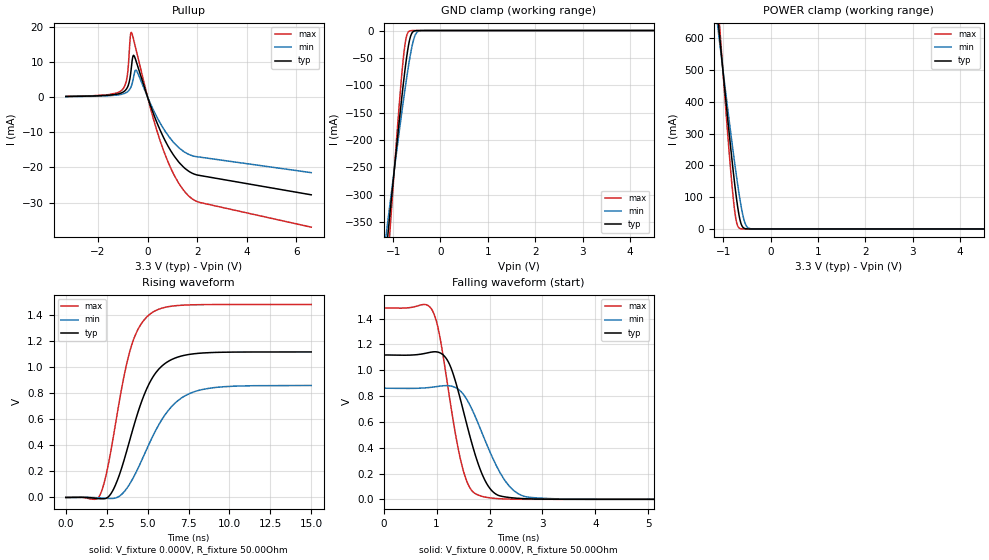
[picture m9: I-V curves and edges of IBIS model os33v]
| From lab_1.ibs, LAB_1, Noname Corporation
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[Model]   os33v
Model_type   I/O_open_source
Vinl = 800.000mV
Vinh = 2.000V
Vmeas = 1.400V
Vref = 1.400V
Cref = 5.000pF
Rref = 100.000Ohm
|   typ   min   max
C_comp   4.550pF   2.600pF   6.500pF
[Voltage Range]   3.300V   3.135V   3.465V
[Temperature Range]   50.0   100.0   0.0
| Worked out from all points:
|   slope of the pullup table from 0 to 0.495 V, typ, clamps not added: 53.7 ohm
|   GND clamp passes 1 mA (typ) near -0.56 V on its own axis
|   POWER clamp passes 1 mA (typ) near -0.54 V on its own axis
|   rising waveform, V_fixture 0.000V, R_fixture 50.00Ohm: 20-80 % time 1.77ns typ, 2.19ns min, 1.4ns max; typ from 0 V to 1.12 V
|   falling waveform, V_fixture 0.000V, R_fixture 50.00Ohm: 20-80 % time 461ps typ, 571ps min, 366ps max; typ from 1.12 V to 0 V
[GND Clamp]
|   Voltage   I(typ)   I(min)   I(max)
-3.3V     -2.416A    -1.934A    -3.285A
-1.14V    -399.6mA   -368.2mA   -457.3mA
-1.095V   -359.4mA   -336.9mA   -401.3mA
-1.065V   -332.8mA   -316.1mA   -364.2mA
-900mV    -190.1mA   -204mA     -167.9mA
-795mV    -105.4mA   -135.7mA   -59.93mA
-730mV    -58.86mA   -95.74mA   -15.61mA
-650mV    -16.44mA   -51.23mA   -860.1uA
-605mV    -5.03mA    -30.33mA   -124.6uA
-545mV    -680.9uA   -10.68mA   -9.758uA
-415mV    -6.553uA   -288.9uA   -39.92nA
6.6V      0A         0A         0A
[Pullup]
|   Voltage   I(typ)   I(min)   I(max)
-3.3V     186.4uA    149.5uA    232uA
-1.03V    1.292mA    851.1uA    2.057mA
-830mV    2.586mA    1.434mA    5.645mA
-700mV    5.874mA    2.463mA    17.07mA
-660mV    8.116mA    3.078mA    18.43mA
-580mV    11.82mA    5.211mA    16.82mA
-440mV    9.708mA    7.47mA     12.73mA
520mV     -9.616mA   -7.536mA   -12.71mA
1.025V    -16.25mA   -12.68mA   -21.53mA
1.55V     -20.51mA   -15.87mA   -27.31mA
2.105V    -22.27mA   -17.05mA   -29.95mA
6.6V      -27.77mA   -21.47mA   -36.97mA
[POWER Clamp]
|   Voltage   I(typ)   I(min)   I(max)
-3.3V     4.234A     3.486A     5.484A
-1.115V   666mA      635.7mA    719.1mA
-1.09V    627mA      604.4mA    667.2mA
-1.05V    564.9mA    554.6mA    585mA
-875mV    301.5mA    341.4mA    241.3mA
-780mV    169.5mA    231.1mA    84.52mA
-715mV    90.19mA    159.9mA    18.73mA
-650mV    31.09mA    95.27mA    1.638mA
-600mV    8.404mA    53.33mA    201.2uA
-545mV    1.357mA    20.63mA    19.51uA
-415mV    13.11uA    576.9uA    78.41nA
6.6V      0A         0A         0A
[Ramp]
R_load = 50.00Ohm
|   typ   min   max
dV/dt_r   670.918mV/1.773ns   516.401mV/2.188ns   889.722mV/1.400ns
dV/dt_f   670.918mV/461.369ps 516.401mV/570.790ps 889.722mV/365.753ps
[Rising Waveform]
V_fixture = 0.000V
V_fixture_min = 0.000V
V_fixture_max = 0.000V
R_fixture = 50.00Ohm
|   Time   V(typ)   V(min)   V(max)
0s        -68.64nV   234.3nV    46.42nV
2.1ns     -9.982mV   -3.589mV   21.4mV
2.5ns     -4.15mV    -6.992mV   194.2mV
2.925ns   65.61mV    -6.867mV   480.7mV
3.925ns   447.6mV    107.7mV    1.129V
4.45ns    669.9mV    233.9mV    1.301V
5.15ns    887.7mV    426.9mV    1.409V
6.425ns   1.057V     692.4mV    1.469V
7.925ns   1.105V     815.5mV    1.481V
15ns      1.118V     860.7mV    1.483V
[Falling Waveform]
V_fixture = 0.000V
V_fixture_min = 0.000V
V_fixture_max = 0.000V
R_fixture = 50.00Ohm
|   Time   V(typ)   V(min)   V(max)
0s        1.118V     860.7mV    1.483V
925ps     1.142V     869.3mV    1.46V
1.05ns    1.138V     876.2mV    1.285V
1.225ns   1.062V     880.3mV    841mV
1.5ns     694.2mV    816.9mV    229.3mV
1.65ns    458.1mV    713.1mV    75.92mV
1.875ns   180.6mV    497.9mV    21.52mV
2.35ns    15.41mV    113.8mV    2.099mV
2.825ns   2.774mV    13.18mV    189.8uV
15ns      -68.64nV   234.3nV    46.42nV
